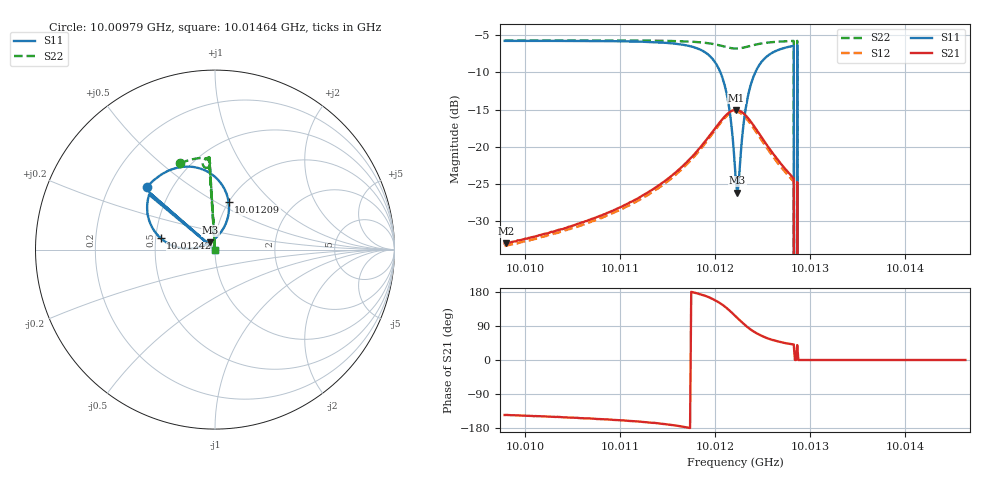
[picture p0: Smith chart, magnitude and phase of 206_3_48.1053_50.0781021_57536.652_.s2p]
#  HZ  S  RI  R  50.00
! Rohde & Schwarz Vector Network Analyzer
! Rohde-Schwarz,ZNB20-2Port,1311601062101988,3.16
! Created: UTC 12/23/2023, 3:55:17 AM
! freq[Hz]  re:S11  im:S11  re:S21  im:S21  re:S12  im:S12  re:S22  im:S22
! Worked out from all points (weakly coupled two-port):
!   401 points, 10.00979 GHz to 10.01464 GHz, reference 50 ohm
!   highest |S21| = -15.03 dB at 10.01222 GHz (marker M1); lowest = -33.0 dB at 10.0098 GHz (marker M2)
!   lowest |S11| = -26.2 dB at 10.01224 GHz (marker M3), VSWR 1.10, Z = 47.3 + j3.95 ohm
!   |S11| at or under -10 dB: 10.01206 GHz to 10.01242 GHz (366 kHz wide, 0.00366 % of centre); 10.01283 GHz to 10.01287 GHz (35.91 kHz wide, 0.000359 % of centre); 10.01287 GHz to end of sweep
!   |S22| runs from - to -5.7 dB; largest |S21 - S12| = 0.0088
!   S11 on the Smith chart (normalised r, x): 10.00979 GHz: 0.36, +0.35; 10.01209 GHz: 1.00, +0.58; 10.01242 GHz: 0.53, +0.07; 10.01464 GHz: 1.00, +0.00
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1.0009788e10  -0.3774 0.3515  -0.0184 -0.0128  -0.0169 -0.0133  -0.1947 0.4804
1.00098e10  -0.3766 0.3522  -0.0184 -0.0129  -0.017 -0.0133  -0.194 0.4807
1.00106e10  -0.3219 0.4021  -0.0278 -0.0139  -0.0258 -0.0147  -0.1432 0.4989
1.0011412e10  -0.2176 0.4544  -0.0539 -0.0121  -0.0512 -0.0144  -0.0844 0.5097
1.0011885e10  -0.0432 0.4351  -0.1049 0.0176  -0.1024 0.0113  -0.04 0.5001
1.0012091e10  0.0756 0.2661  -0.1264 0.0926  -0.1276 0.0847  -0.0271 0.4733
1.0012164e10  0.0614 0.1477  -0.1073 0.1349  -0.1105 0.1271  -0.0337 0.4608
1.0012212e10  0.0109 0.0714  -0.08 0.1579  -0.0841 0.1509  -0.0427 0.4561
1.0012224e10  -0.00668 0.0558  -0.072 0.1619  -0.0763 0.1549  -0.0454 0.4556
1.0012236e10  -0.0261 0.0417  -0.0631 0.165  -0.0679 0.1582  -0.048 0.4557
1.0012333e10  -0.1951 0.00954  0.00307 0.1603  -0.00179 0.1548  -0.0648 0.4657
1.0012418e10  -0.3025 0.0635  0.0385 0.1305  0.0329 0.1265  -0.068 0.4805
1.0012564e10  -0.3718 0.1796  0.055 0.0828  0.0496 0.0811  -0.0591 0.4993
1.0012806e10  -0.3695 0.2979  0.0476 0.0425  0.0434 0.0423  -0.0369 0.5134
1.001283e10  -0.367 0.3056  0.0463 0.0401  0.0426 0.0401  -0.0348 0.5141
1.0012842e10  0 0  0 0  0 0  0 0
1.0012867e10  -0.3634 0.3165  0.0448 0.0368  0.0411 0.0368  -0.0316 0.5152
1.0012891e10  0 0  0 0  0 0  0 0
1.0012903e10  0 0  0 0  0 0  0 0
1.0013024e10  0 0  0 0  0 0  0 0
1.0013836e10  0 0  0 0  0 0  0 0
1.0014636e10  0 0  0 0  0 0  0 0
